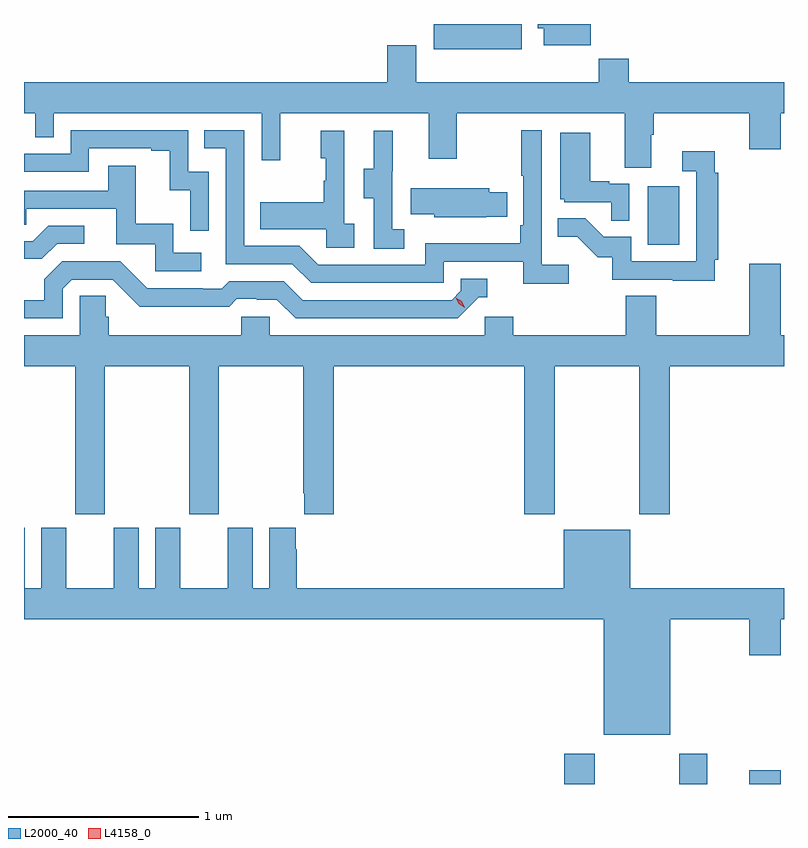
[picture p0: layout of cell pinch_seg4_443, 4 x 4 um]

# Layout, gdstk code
import gdstk
lib = gdstk.Library(unit=1e-6, precision=1e-09)
def R(c, l, rs):  # rectangles x0, y0, x1, y1
    for r in rs: c.add(gdstk.rectangle(r[:2], r[2:], *l))
def P(c, l, *ps):  # polygons
    for p in ps: c.add(gdstk.Polygon(p, *l))
L2000_40 = (2000, 40)
L4158_0 = (4158, 0)

pinch_seg4_443 = lib.new_cell('pinch_seg4_443')
R(pinch_seg4_443, L2000_40, [(955.241,767.982,955.401,768.142), (955.846,767.982,955.993,768.142), (956.216,767.982,956.38,768.055), (955.682,770.82,955.846,771.127), (954.554,771.848,955.018,771.982)])
P(pinch_seg4_443, L2000_40, [(955.382,771.982),(955.103,771.982),(955.103,771.959),(955.133,771.959),(955.133,771.87),(955.382,771.87)],
  [(955.699,771.4),(955.712,771.4),(955.712,771.512),(956.216,771.512),(956.216,771.324),(956.38,771.324),(956.38,771.512),(956.398,771.512),(956.398,771.676),(955.58,771.676),(955.58,771.8),(955.423,771.8),(955.423,771.676),(954.463,771.676),(954.463,771.871),(954.311,771.871),(954.311,771.676),(952.398,771.676),(952.398,771.512),(952.458,771.512),(952.458,771.385),(952.554,771.385),(952.554,771.512),(953.649,771.512),(953.649,771.264),(953.747,771.264),(953.747,771.512),(954.527,771.512),(954.527,771.273),(954.675,771.273),(954.675,771.512),(955.559,771.512),(955.559,771.226),(955.699,771.226)],
  [(955.264,770.716),(955.122,770.716),(955.122,771.424),(955.014,771.424),(955.014,771.184),(955.026,771.184),(955.026,770.923),(955.009,770.923),(955.009,770.827),(954.51,770.827),(954.51,770.715),(953.946,770.715),(953.847,770.814),(953.556,770.814),(953.556,771.423),(953.347,771.423),(953.347,771.327),(953.46,771.327),(953.46,770.718),(953.81,770.718),(953.909,770.619),(954.606,770.619),(954.606,770.73),(955.025,770.73),(955.025,770.614),(955.264,770.614)],
  [(953.37,771.204),(953.262,771.204),(953.262,771.423),(952.644,771.423),(952.644,771.3),(952.398,771.3),(952.398,771.204),(952.74,771.204),(952.74,771.327),(953.069,771.327),(953.069,771.315),(953.165,771.315),(953.165,771.107),(953.274,771.107),(953.274,770.895),(953.37,770.895)],
  [(954.4,770.903),(954.336,770.903),(954.336,771.207),(954.338,771.207),(954.338,771.421),(954.239,771.421),(954.239,771.219),(954.185,771.219),(954.185,771.064),(954.24,771.064),(954.24,770.8),(954.4,770.8)],
  [(954.136,770.93),(954.084,770.93),(954.084,771.421),(953.96,771.421),(953.96,771.276),(953.986,771.276),(953.986,771.158),(953.976,771.158),(953.976,771.043),(953.641,771.043),(953.641,770.903),(953.988,770.903),(953.988,770.805),(954.136,770.805)],
  [(955.584,771.141),(955.478,771.141),(955.478,771.154),(955.378,771.154),(955.378,771.409),(955.22,771.409),(955.22,771.06),(955.242,771.06),(955.242,771.045),(955.489,771.045),(955.489,770.947),(955.584,770.947)],
  [(956.033,770.74),(956.051,770.74),(956.051,771.2),(956.033,771.2),(956.033,771.313),(955.863,771.313),(955.863,771.207),(955.935,771.207),(955.935,770.733),(955.593,770.733),(955.593,770.862),(955.449,770.862),(955.351,770.96),(955.207,770.96),(955.207,770.861),(955.311,770.861),(955.418,770.754),(955.495,770.754),(955.495,770.637),(955.813,770.637),(955.813,770.632),(956.033,770.632)],
  [(953.332,770.778),(953.184,770.778),(953.184,770.932),(952.985,770.932),(952.985,771.235),(952.841,771.235),(952.841,771.105),(952.398,771.105),(952.398,770.925),(952.409,770.925),(952.409,771.009),(952.883,771.009),(952.883,770.823),(953.088,770.823),(953.088,770.682),(953.332,770.682)],
  [(954.83,770.967),(954.941,770.967),(954.941,771.096),(954.847,771.096),(954.847,771.118),(954.433,771.118),(954.433,770.981),(954.558,770.981),(954.558,770.966),(954.83,770.966)],
  [(952.572,770.826),(952.714,770.826),(952.714,770.919),(952.526,770.919),(952.445,770.838),(952.398,770.838),(952.398,770.746),(952.492,770.746)],
  [(952.602,770.589),(952.65,770.637),(952.866,770.637),(953.008,770.495),(953.244,770.495),(953.244,770.493),(953.477,770.493),(953.519,770.535),(953.622,770.535),(953.622,770.532),(953.729,770.532),(953.828,770.433),(954.681,770.433),(954.792,770.544),(954.835,770.544),(954.835,770.64),(954.696,770.64),(954.696,770.577),(954.648,770.529),(953.865,770.529),(953.766,770.628),(953.477,770.628),(953.438,770.589),(953.339,770.589),(953.339,770.592),(953.046,770.592),(952.905,770.733),(952.599,770.733),(952.505,770.639),(952.505,770.529),(952.398,770.529),(952.398,770.433),(952.602,770.433)],
  [(952.824,770.18),(953.269,770.18),(953.269,769.401),(953.424,769.401),(953.424,770.18),(953.869,770.18),(953.869,769.513),(953.873,769.513),(953.873,769.401),(954.029,769.401),(954.029,770.18),(955.031,770.18),(955.031,769.401),(955.191,769.401),(955.191,770.18),(955.636,770.18),(955.636,769.401),(955.796,769.401),(955.796,770.18),(956.398,770.18),(956.398,770.344),(956.38,770.344),(956.38,770.719),(956.216,770.719),(956.216,770.344),(955.725,770.344),(955.725,770.552),(955.565,770.552),(955.565,770.344),(954.974,770.344),(954.974,770.442),(954.822,770.442),(954.822,770.344),(953.691,770.344),(953.691,770.442),(953.541,770.442),(953.541,770.344),(952.844,770.344),(952.844,770.442),(952.829,770.442),(952.829,770.552),(952.692,770.552),(952.692,770.344),(952.398,770.344),(952.398,770.18),(952.669,770.18),(952.669,769.401),(952.824,769.401)],
  [(955.448,768.242),(955.798,768.242),(955.798,768.848),(956.216,768.848),(956.216,768.66),(956.38,768.66),(956.38,768.848),(956.398,768.848),(956.398,769.012),(955.588,769.012),(955.588,769.321),(955.238,769.321),(955.238,769.012),(953.834,769.012),(953.834,769.217),(953.827,769.217),(953.827,769.33),(953.69,769.33),(953.69,769.012),(953.602,769.012),(953.602,769.33),(953.471,769.33),(953.471,769.012),(953.221,769.012),(953.221,769.33),(953.09,769.33),(953.09,769.012),(953.002,769.012),(953.002,769.33),(952.871,769.33),(952.871,769.012),(952.621,769.012),(952.621,769.33),(952.49,769.33),(952.49,769.012),(952.402,769.012),(952.402,769.33),(952.398,769.33),(952.398,768.848),(955.448,768.848)])
P(pinch_seg4_443, L4158_0, [(954.717,770.489),(954.687,770.509),(954.671,770.542),(954.671,770.542),(954.671,770.542),(954.702,770.522),(954.717,770.489),(954.717,770.489)])

lib.write_gds('pinch_seg4_443.gds')
